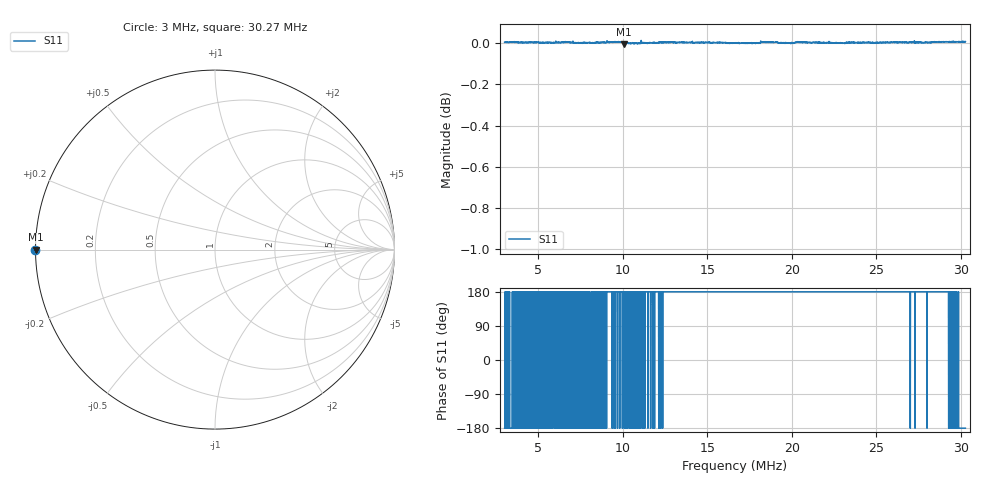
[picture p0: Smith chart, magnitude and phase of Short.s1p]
# HZ S RI R 50
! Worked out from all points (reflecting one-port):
!   2727 points, 3 MHz to 30.27 MHz, reference 50 ohm
!   lowest |S11| = 0.0 dB at 10.07 MHz (marker M1)
!   phase of S11 starts at -180 deg and turns +0 deg over the sweep
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3000000  -1.001 -5.45e-06
5841136  -1 -8.54e-05
6411364  -1.001 4.45e-05
6721488  -1.001 -6.65e-06
7191676  -1 -0.000157
8192076  -1 5.33e-05
9822728  -1.001 0.000114
1.007283e7  -0.9995 -2.29e-05
1.020288e7  -1 9.39e-05
1.093317e7  -1 -2.2e-05
1.121328e7  -1 0.000164
1.323409e7  -1 0.000234
1.49948e7  -1 0.00038
1.663545e7  -1 0.000388
1.8016e7  -1 0.000536
1.828611e7  -1.001 0.000447
1.902641e7  -1.001 0.000548
1.931652e7  -1 0.000555
2.004682e7  -1 0.000398
2.035694e7  -1.001 0.00053
2.303801e7  -1 0.000177
2.345818e7  -1 0.000243
2.686954e7  -1 0.000227
2.813005e7  -1 0.000197
2.840016e7  -1.001 0.000205
2.912044e7  -1.001 0.000147
2.940056e7  -1.001 4.76e-06
3.02709e7  -1.001 -9.76e-05
